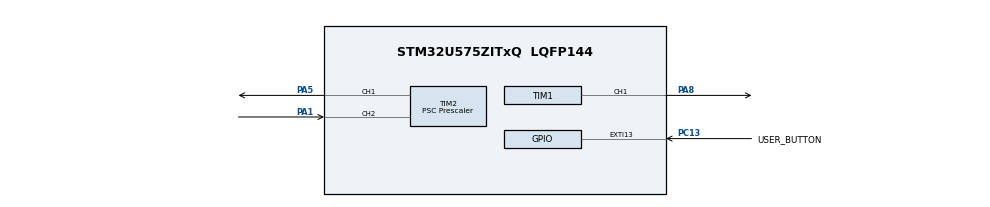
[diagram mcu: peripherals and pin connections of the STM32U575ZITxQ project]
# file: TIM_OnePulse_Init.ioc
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CORTEX_M33_NS.userName=CORTEX_M33
Mcu.Family=STM32U5
Mcu.Name=STM32U575ZITxQ
Mcu.Package=LQFP144
NVIC.EXTI13_IRQn=true\:0\:0\:false\:false\:true\:true\:true\:true
NVIC.PriorityGroup=NVIC_PRIORITYGROUP_4
NVIC.TIM1_CC_IRQn=true\:0\:0\:false\:false\:true\:true\:true\:true
PA1.GPIO_Speed=GPIO_SPEED_FREQ_VERY_HIGH
PA1.Signal=S_TIM2_CH2
PA5.GPIO_Speed=GPIO_SPEED_FREQ_VERY_HIGH
PA5.Signal=S_TIM2_CH1
PA8.Signal=S_TIM1_CH1
PC13.GPIO_Label=USER_BUTTON
PC13.GPIO_ModeDefaultEXTI=GPIO_MODE_IT_FALLING
PC13.GPIO_PuPd=GPIO_NOPULL
PC13.Signal=GPXTI13
PWR.PowerMode=PWR_SMPS_SUPPLY
ProjectManager.HeapSize=0x200
ProjectManager.StackSize=0x400
ProjectManager.TargetToolchain=EWARM V8.50
RCC.ADCFreq_Value=16000000
RCC.AHBFreq_Value=160000000
RCC.APB1Freq_Value=160000000
RCC.APB1TimFreq_Value=160000000
RCC.APB2Freq_Value=160000000
RCC.APB2TimFreq_Value=160000000
RCC.APB3Freq_Value=160000000
RCC.CortexFreq_Value=160000000
RCC.DACCLockSelectionVirtual=RCC_DAC1CLKSOURCE_LSI
RCC.DACCLockSelectionVirtualString=RCC_DAC1CLKSOURCE_LSI
RCC.EPOD_VALUE=4000000
RCC.HCLKFreq_Value=160000000
RCC.HSE_VALUE=16000000
RCC.HSI48_VALUE=48000000
RCC.HSI_VALUE=16000000
RCC.LSE_VALUE=32768
RCC.LSIDIV_VALUE=32000
RCC.MSI_VALUE=4000000
RCC.PLLN=80
RCC.SYSCLKFreq_VALUE=160000000
RCC.SYSCLKSource=RCC_SYSCLKSOURCE_PLLCLK
RCC.USBFreq_Value=48000000
RCC.VCOOutputFreq_Value=320000000
SH.S_TIM1_CH1.0=TIM1_CH1,PWM Generation1 CH1
SH.S_TIM2_CH1.0=TIM2_CH1,Output Compare1 CH1
SH.S_TIM2_CH2.0=TIM2_CH2,TriggerSource_TI2FP2
TIM1.AutoReloadPreload=TIM_AUTORELOAD_PRELOAD_ENABLE
TIM1.AutomaticOutput=TIM_AUTOMATICOUTPUT_ENABLE
TIM1.Break2Filter=0
TIM1.Break2Polarity=TIM_BREAK2POLARITY_HIGH
TIM1.Break2State=TIM_BREAK2_DISABLE
TIM1.BreakFilter=0
TIM1.BreakPolarity=TIM_BREAKPOLARITY_HIGH
TIM1.BreakState=TIM_BREAK_DISABLE
TIM1.Channel-PWM\ Generation1\ CH1=TIM_CHANNEL_1
TIM1.ClearInputSource=TIM_CLEARINPUTSOURCE_NONE
TIM1.ClockDivision=TIM_CLOCKDIVISION_DIV1
TIM1.CounterMode=TIM_COUNTERMODE_UP
TIM1.Dithering=Disable
TIM1.LockLevel=TIM_LOCKLEVEL_OFF
TIM1.OC1Preload_PWM=ENABLE
TIM1.OCFastMode_PWM-PWM\ Generation1\ CH1=TIM_OCFAST_DISABLE
TIM1.OCIdleState_1=TIM_OCIDLESTATE_RESET
TIM1.OCMode_PWM-PWM\ Generation1\ CH1=TIM_OCMODE_PWM2
TIM1.OCPolarity_1=TIM_OCPOLARITY_HIGH
TIM1.OffStateIDLEMode=TIM_OSSI_DISABLE
TIM1.OffStateRunMode=TIM_OSSR_DISABLE
TIM1.PeriodNoDither=Period
TIM1.Prescaler=Prescaler
TIM1.PulseNoDither_1=Pulse
TIM1.RepetitionCounter=0
TIM1.SourceBRK2COMP1=TIM_BREAKINPUTSOURCE_DISABLE
TIM1.SourceBRK2COMP2=TIM_BREAKINPUTSOURCE_DISABLE
TIM1.SourceBRK2DigInput=TIM_BREAKINPUTSOURCE_DISABLE
TIM1.SourceBRKCOMP1=TIM_BREAKINPUTSOURCE_DISABLE
TIM1.SourceBRKCOMP2=TIM_BREAKINPUTSOURCE_DISABLE
TIM1.SourceBRKDigInput=TIM_BREAKINPUTSOURCE_DISABLE
TIM1.TIM_MasterOutputTrigger=TIM_TRGO_RESET
TIM1.TIM_MasterOutputTrigger2=TIM_TRGO2_RESET
TIM1.TIM_MasterSlaveMode=TIM_MASTERSLAVEMODE_DISABLE
TIM2.AutoReloadPreload=TIM_AUTORELOAD_PRELOAD_ENABLE
TIM2.Channel-Output\ Compare1\ CH1=TIM_CHANNEL_1
TIM2.ClearInputSource=TIM_CLEARINPUTSOURCE_NONE
TIM2.ClockDivision=TIM_CLOCKDIVISION_DIV1
TIM2.CounterMode=TIM_COUNTERMODE_UP
TIM2.Dithering=Disable
TIM2.OC1Preload=DISABLE
TIM2.OCMode_1=TIM_OCMODE_RETRIGERRABLE_OPM2
TIM2.OCPolarity_1=TIM_OCPOLARITY_HIGH
TIM2.PeriodNoDither=Period
TIM2.Prescaler=Prescaler
TIM2.PulseNoDither_1=Pulse
TIM2.Slave_TriggerFilter=0
TIM2.TIM_MasterOutputTrigger=TIM_TRGO_RESET
TIM2.TIM_MasterSlaveMode=TIM_MASTERSLAVEMODE_DISABLE
TIM2.TIM_SlaveMode=TIM_SLAVEMODE_TRIGGER
VP_ICACHE_VS_ICACHE.Mode=DirectMappedCache
VP_LPBAMQUEUE_VS_QUEUE.Mode=QUEUEMODE
VP_LPBAM_VS_SIG1.Mode=SmartRun
VP_LPBAM_VS_SIG4.Mode=LPDMA1
VP_PWR_VS_DBSignals.Mode=DisableDeadBatterySignals
VP_PWR_VS_LPOM.Mode=PowerOptimisation
VP_PWR_VS_SECSignals.Mode=Security/Privilege
VP_TIM1_VS_OPM.Mode=OPM_bit
VP_TIM2_VS_ControllerModeTrigger.Mode=Trigger Mode
VP_TIM2_VS_OPM.Mode=OPM_bit
board=custom

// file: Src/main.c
/* USER CODE BEGIN Header */
/**
  ******************************************************************************
  * @file           : main.c
  * @brief          : Main program body
  ******************************************************************************
  * @attention
  *
  * Copyright (c) 2021 STMicroelectronics.
  * All rights reserved.
  *
  * This software is licensed under terms that can be found in the LICENSE file
  * in the root directory of this software component.
  * If no LICENSE file comes with this software, it is provided AS-IS.
  *
  ******************************************************************************
  */
/* USER CODE END Header */
#include "main.h"

/* USER CODE BEGIN PTD */
/* Measured pulse delay (in us) */
static __IO uint32_t uwMeasuredDelay;

/* Measured pulse length (in us) */
static __IO uint32_t uwMeasuredPulseLength;

/* USER CODE END PTD */

void SystemClock_Config(void);
static void SystemPower_Config(void);
static void MX_GPIO_Init(void);
static void MX_ICACHE_Init(void);
static void MX_TIM2_Init(void);
static void MX_TIM1_Init(void);

int main(void)
{

  /* MCU Configuration--------------------------------------------------------*/

  /* Reset of all peripherals, Initializes the Flash interface and the Systick. */

  /* System interrupt init*/
  NVIC_SetPriorityGrouping(NVIC_PRIORITYGROUP_4);

  /* Enable PWR clock interface */

  LL_AHB3_GRP1_EnableClock(LL_AHB3_GRP1_PERIPH_PWR);

  /* Configure the System Power */
  SystemPower_Config();

  /* Configure the system clock */
  SystemClock_Config();

  /* Initialize all configured peripherals */
  MX_GPIO_Init();
  MX_ICACHE_Init();
  MX_TIM2_Init();
  MX_TIM1_Init();
  /* USER CODE BEGIN 2 */
  /* Enable capture/compare interrupt */
  LL_TIM_EnableIT_CC1(TIM1);

  /* Enable output channels */
  LL_TIM_CC_EnableChannel(TIM1, LL_TIM_CHANNEL_CH1);
  LL_TIM_CC_EnableChannel(TIM2, LL_TIM_CHANNEL_CH1);

  /* Force update generation */
  LL_TIM_GenerateEvent_UPDATE(TIM1);
  LL_TIM_GenerateEvent_UPDATE(TIM2);

  /* USER CODE END 2 */

  /* Infinite loop */
  while (1)
  {

  }
}

void SystemClock_Config(void)
{
  LL_FLASH_SetLatency(LL_FLASH_LATENCY_4);
  while(LL_FLASH_GetLatency()!= LL_FLASH_LATENCY_4)
  {
  }

  LL_PWR_SetRegulVoltageScaling(LL_PWR_REGU_VOLTAGE_SCALE1);
  while (LL_PWR_IsActiveFlag_VOS() == 0)
  {
  }
  LL_RCC_MSIS_Enable();

   /* Wait till MSIS is ready */
  while(LL_RCC_MSIS_IsReady() != 1)
  {
  }

  LL_RCC_MSI_EnableRangeSelection();
  LL_RCC_MSIS_SetRange(LL_RCC_MSISRANGE_4);
  LL_RCC_MSI_SetCalibTrimming(16, LL_RCC_MSI_OSCILLATOR_1);
  LL_RCC_PLL1_ConfigDomain_SYS(LL_RCC_PLL1SOURCE_MSIS, 1, 80, 2);
  LL_RCC_PLL1_EnableDomain_SYS();
  LL_RCC_SetPll1EPodPrescaler(LL_RCC_PLL1MBOOST_DIV_1);
  LL_RCC_PLL1_SetVCOInputRange(LL_RCC_PLLINPUTRANGE_4_8);
  LL_RCC_PLL1_Enable();

   /* Wait till PLL is ready */
  while(LL_RCC_PLL1_IsReady() != 1)
  {
  }

   /* Intermediate AHB prescaler 2 when target frequency clock is higher than 80 MHz */
  LL_RCC_SetAHBPrescaler(LL_RCC_SYSCLK_DIV_2);

  LL_RCC_SetSysClkSource(LL_RCC_SYS_CLKSOURCE_PLL1);

   /* Wait till System clock is ready */
  while(LL_RCC_GetSysClkSource() != LL_RCC_SYS_CLKSOURCE_STATUS_PLL1)
  {
  }

  /* Insure 1us transition state at intermediate medium speed clock*/
  for (__IO uint32_t i = (160 >> 1); i !=0; i--);

  LL_RCC_SetAHBPrescaler(LL_RCC_SYSCLK_DIV_1);
  LL_RCC_SetAPB1Prescaler(LL_RCC_APB1_DIV_1);
  LL_RCC_SetAPB2Prescaler(LL_RCC_APB2_DIV_1);
  LL_RCC_SetAPB3Prescaler(LL_RCC_APB3_DIV_1);

  LL_Init1msTick(160000000);

  LL_SetSystemCoreClock(160000000);
}

/**
  * @brief Power Configuration
  * @retval None
  */
static void SystemPower_Config(void)
{

  /*
   * Disable the internal Pull-Up in Dead Battery pins of UCPD peripheral
   */
  LL_PWR_DisableUCPDDeadBattery();

  /*
   * Switch to SMPS regulator instead of LDO
   */
  LL_PWR_SetRegulatorSupply(LL_PWR_SMPS_SUPPLY);

  while(LL_PWR_IsActiveFlag_REGULATOR()!=1)
  {
  }
}

static void MX_ICACHE_Init(void)
{

  /** Enable instruction cache in 1-way (direct mapped cache)
  */
  LL_ICACHE_SetMode(LL_ICACHE_1WAY);
  LL_ICACHE_Enable();

}

static void MX_TIM1_Init(void)
{

  /* USER CODE BEGIN TIM1_Init 0 */
  uint32_t Prescaler;
  uint32_t Period;
  uint32_t Pulse;

  /* USER CODE END TIM1_Init 0 */

  LL_TIM_InitTypeDef TIM_InitStruct = {0};
  LL_TIM_OC_InitTypeDef TIM_OC_InitStruct = {0};
  LL_TIM_BDTR_InitTypeDef TIM_BDTRInitStruct = {0};

  LL_GPIO_InitTypeDef GPIO_InitStruct = {0};

  /* Peripheral clock enable */
  LL_APB2_GRP1_EnableClock(LL_APB2_GRP1_PERIPH_TIM1);

  /* TIM1 interrupt Init */
  NVIC_SetPriority(TIM1_CC_IRQn, NVIC_EncodePriority(NVIC_GetPriorityGrouping(),0, 0));
  NVIC_EnableIRQ(TIM1_CC_IRQn);

  /* USER CODE BEGIN TIM1_Init 1 */

  /* Set the TIM1 prescaler to get counter clock frequency at 10 MHz          */
  /* Set the capture/compare register to get a pulse delay of 50 us */
  /* Set the autoreload register to get a pulse length of 50 us */
  Prescaler = __LL_TIM_CALC_PSC(SystemCoreClock, 10000000);
  Period = __LL_TIM_CALC_PULSE(SystemCoreClock, Prescaler, 50, 50);
  Pulse = __LL_TIM_CALC_DELAY(SystemCoreClock, Prescaler, 50);

  /* USER CODE END TIM1_Init 1 */
  TIM_InitStruct.Prescaler = Prescaler;
  TIM_InitStruct.CounterMode = LL_TIM_COUNTERMODE_UP;
  TIM_InitStruct.Autoreload = Period;
  TIM_InitStruct.ClockDivision = LL_TIM_CLOCKDIVISION_DIV1;
  TIM_InitStruct.RepetitionCounter = 0;
  LL_TIM_Init(TIM1, &TIM_InitStruct);
  LL_TIM_EnableARRPreload(TIM1);
  LL_TIM_OC_EnablePreload(TIM1, LL_TIM_CHANNEL_CH1);
  TIM_OC_InitStruct.OCMode = LL_TIM_OCMODE_PWM2;
  TIM_OC_InitStruct.OCState = LL_TIM_OCSTATE_DISABLE;
  TIM_OC_InitStruct.OCNState = LL_TIM_OCSTATE_DISABLE;
  TIM_OC_InitStruct.CompareValue = Pulse;
  TIM_OC_InitStruct.OCPolarity = LL_TIM_OCPOLARITY_HIGH;
  TIM_OC_InitStruct.OCNPolarity = LL_TIM_OCPOLARITY_HIGH;
  TIM_OC_InitStruct.OCIdleState = LL_TIM_OCIDLESTATE_LOW;
  TIM_OC_InitStruct.OCNIdleState = LL_TIM_OCIDLESTATE_LOW;
  LL_TIM_OC_Init(TIM1, LL_TIM_CHANNEL_CH1, &TIM_OC_InitStruct);
  LL_TIM_OC_DisableFast(TIM1, LL_TIM_CHANNEL_CH1);
  LL_TIM_SetOnePulseMode(TIM1, LL_TIM_ONEPULSEMODE_SINGLE);
  LL_TIM_SetTriggerOutput(TIM1, LL_TIM_TRGO_RESET);
  LL_TIM_SetTriggerOutput2(TIM1, LL_TIM_TRGO2_RESET);
  LL_TIM_DisableMasterSlaveMode(TIM1);
  TIM_BDTRInitStruct.OSSRState = LL_TIM_OSSR_DISABLE;
  TIM_BDTRInitStruct.OSSIState = LL_TIM_OSSI_DISABLE;
  TIM_BDTRInitStruct.LockLevel = LL_TIM_LOCKLEVEL_OFF;
  TIM_BDTRInitStruct.DeadTime = 0;
  TIM_BDTRInitStruct.BreakState = LL_TIM_BREAK_DISABLE;
  TIM_BDTRInitStruct.BreakPolarity = LL_TIM_BREAK_POLARITY_HIGH;
  TIM_BDTRInitStruct.BreakFilter = LL_TIM_BREAK_FILTER_FDIV1;
  TIM_BDTRInitStruct.BreakAFMode = LL_TIM_BREAK_AFMODE_INPUT;
  TIM_BDTRInitStruct.Break2State = LL_TIM_BREAK2_DISABLE;
  TIM_BDTRInitStruct.Break2Polarity = LL_TIM_BREAK2_POLARITY_HIGH;
  TIM_BDTRInitStruct.Break2Filter = LL_TIM_BREAK2_FILTER_FDIV1;
  TIM_BDTRInitStruct.Break2AFMode = LL_TIM_BREAK_AFMODE_INPUT;
  TIM_BDTRInitStruct.AutomaticOutput = LL_TIM_AUTOMATICOUTPUT_ENABLE;
  LL_TIM_BDTR_Init(TIM1, &TIM_BDTRInitStruct);
  LL_AHB2_GRP1_EnableClock(LL_AHB2_GRP1_PERIPH_GPIOA);
  /**TIM1 GPIO Configuration
  PA8   ------> TIM1_CH1
  */
  GPIO_InitStruct.Pin = LL_GPIO_PIN_8;
  GPIO_InitStruct.Mode = LL_GPIO_MODE_ALTERNATE;
  GPIO_InitStruct.Speed = LL_GPIO_SPEED_FREQ_LOW;
  GPIO_InitStruct.OutputType = LL_GPIO_OUTPUT_PUSHPULL;
  GPIO_InitStruct.Pull = LL_GPIO_PULL_NO;
  GPIO_InitStruct.Alternate = LL_GPIO_AF_1;
  LL_GPIO_Init(GPIOA, &GPIO_InitStruct);

}

static void MX_TIM2_Init(void)
{

  /* USER CODE BEGIN TIM2_Init 0 */
  uint32_t tim_clk;
  uint32_t Prescaler;
  uint32_t Period;
  uint32_t Pulse;

  /* USER CODE END TIM2_Init 0 */

  LL_TIM_InitTypeDef TIM_InitStruct = {0};
  LL_TIM_OC_InitTypeDef TIM_OC_InitStruct = {0};

  LL_GPIO_InitTypeDef GPIO_InitStruct = {0};

  /* Peripheral clock enable */
  LL_APB1_GRP1_EnableClock(LL_APB1_GRP1_PERIPH_TIM2);

  LL_AHB2_GRP1_EnableClock(LL_AHB2_GRP1_PERIPH_GPIOA);
  /**TIM2 GPIO Configuration
  PA1   ------> TIM2_CH2
  */
  GPIO_InitStruct.Pin = LL_GPIO_PIN_1;
  GPIO_InitStruct.Mode = LL_GPIO_MODE_ALTERNATE;
  GPIO_InitStruct.Speed = LL_GPIO_SPEED_FREQ_VERY_HIGH;
  GPIO_InitStruct.OutputType = LL_GPIO_OUTPUT_PUSHPULL;
  GPIO_InitStruct.Pull = LL_GPIO_PULL_NO;
  GPIO_InitStruct.Alternate = LL_GPIO_AF_1;
  LL_GPIO_Init(GPIOA, &GPIO_InitStruct);

  /* USER CODE BEGIN TIM2_Init 1 */

  /* In this example TIM2 input clock (TIM2CLK) is set to APB1 clock (PCLK1), */
  /* since APB1 pre-scaler is equal to 1.                                     */
  /*    TIM2CLK = PCLK1                                                       */
  /*    PCLK1 = HCLK                                                          */
  /*    => TIM2CLK = SystemCoreClock (160 MHz)                                */
  tim_clk = SystemCoreClock/1;

  /* Set the TIM2 prescaler to get counter clock frequency at 4 kHz */
  /* Set the capture/compare register to get a pulse delay of 2s (2000000 us)*/
  /* Set the autoreload register to get a pulse length of 3s (3000000 us)*/
  Prescaler = __LL_TIM_CALC_PSC(tim_clk, 4000);
  Period = __LL_TIM_CALC_PULSE(tim_clk, Prescaler, 2000000, 3000000);
  Pulse = __LL_TIM_CALC_DELAY(tim_clk, Prescaler, 2000000);

  /* USER CODE END TIM2_Init 1 */
  TIM_InitStruct.Prescaler = Prescaler;
  TIM_InitStruct.CounterMode = LL_TIM_COUNTERMODE_UP;
  TIM_InitStruct.Autoreload = Period;
  TIM_InitStruct.ClockDivision = LL_TIM_CLOCKDIVISION_DIV1;
  LL_TIM_Init(TIM2, &TIM_InitStruct);
  LL_TIM_EnableARRPreload(TIM2);
  TIM_OC_InitStruct.OCMode = LL_TIM_OCMODE_RETRIG_OPM2;
  TIM_OC_InitStruct.OCState = LL_TIM_OCSTATE_DISABLE;
  TIM_OC_InitStruct.OCNState = LL_TIM_OCSTATE_DISABLE;
  TIM_OC_InitStruct.CompareValue = Pulse;
  TIM_OC_InitStruct.OCPolarity = LL_TIM_OCPOLARITY_HIGH;
  LL_TIM_OC_Init(TIM2, LL_TIM_CHANNEL_CH1, &TIM_OC_InitStruct);
  LL_TIM_OC_DisableFast(TIM2, LL_TIM_CHANNEL_CH1);
  LL_TIM_SetOnePulseMode(TIM2, LL_TIM_ONEPULSEMODE_SINGLE);
  LL_TIM_SetTriggerInput(TIM2, LL_TIM_TS_TI2FP2);
  LL_TIM_SetSlaveMode(TIM2, LL_TIM_SLAVEMODE_TRIGGER);
  LL_TIM_CC_DisableChannel(TIM2, LL_TIM_CHANNEL_CH2);
  LL_TIM_IC_SetFilter(TIM2, LL_TIM_CHANNEL_CH2, LL_TIM_IC_FILTER_FDIV1);
  LL_TIM_IC_SetPolarity(TIM2, LL_TIM_CHANNEL_CH2, LL_TIM_IC_POLARITY_RISING);
  LL_TIM_DisableIT_TRIG(TIM2);
  LL_TIM_DisableDMAReq_TRIG(TIM2);
  LL_TIM_SetTriggerOutput(TIM2, LL_TIM_TRGO_RESET);
  LL_TIM_DisableMasterSlaveMode(TIM2);
  LL_AHB2_GRP1_EnableClock(LL_AHB2_GRP1_PERIPH_GPIOA);
  /**TIM2 GPIO Configuration
  PA5   ------> TIM2_CH1
  */
  GPIO_InitStruct.Pin = LL_GPIO_PIN_5;
  GPIO_InitStruct.Mode = LL_GPIO_MODE_ALTERNATE;
  GPIO_InitStruct.Speed = LL_GPIO_SPEED_FREQ_VERY_HIGH;
  GPIO_InitStruct.OutputType = LL_GPIO_OUTPUT_PUSHPULL;
  GPIO_InitStruct.Pull = LL_GPIO_PULL_NO;
  GPIO_InitStruct.Alternate = LL_GPIO_AF_1;
  LL_GPIO_Init(GPIOA, &GPIO_InitStruct);

}

static void MX_GPIO_Init(void)
{
  LL_EXTI_InitTypeDef EXTI_InitStruct = {0};

  /* GPIO Ports Clock Enable */
  LL_AHB2_GRP1_EnableClock(LL_AHB2_GRP1_PERIPH_GPIOC);
  LL_AHB2_GRP1_EnableClock(LL_AHB2_GRP1_PERIPH_GPIOA);

  /**/
  LL_EXTI_SetEXTISource(LL_EXTI_EXTI_PORTC, LL_EXTI_EXTI_LINE13);

  /**/
  EXTI_InitStruct.Line_0_31 = LL_EXTI_LINE_13;
  EXTI_InitStruct.LineCommand = ENABLE;
  EXTI_InitStruct.Mode = LL_EXTI_MODE_IT;
  EXTI_InitStruct.Trigger = LL_EXTI_TRIGGER_FALLING;
  LL_EXTI_Init(&EXTI_InitStruct);

  /**/
  LL_GPIO_SetPinPull(USER_BUTTON_GPIO_Port, USER_BUTTON_Pin, LL_GPIO_PULL_NO);

  /**/
  LL_GPIO_SetPinMode(USER_BUTTON_GPIO_Port, USER_BUTTON_Pin, LL_GPIO_MODE_INPUT);

  /* EXTI interrupt init*/
  NVIC_SetPriority(EXTI13_IRQn, NVIC_EncodePriority(NVIC_GetPriorityGrouping(),0, 0));
  NVIC_EnableIRQ(EXTI13_IRQn);

}

/* USER CODE BEGIN 4 */

/******************************************************************************/
/*   USER IRQ HANDLER TREATMENT                                               */
/******************************************************************************/
/**
  * @brief  User button interrupt processing
  * @note   TIM1 counter is enabled every time the user button is presssed.
  * @param  None
  * @retval None
  */
void UserButton_Callback(void)
{
  /* Enable counter. Note that the counter will stop automatically at the     */
  /* next update event (UEV).                                                 */
  LL_TIM_EnableCounter(TIM1);
}

/**
  * @brief  Timer capture/compare interrupt processing
  * @note   Calculates the pulse delay and pulse length of the output waveform
  *         generated by TIM1.
  * @param  None
  * @retval None
  */
void TimerCaptureCompare_Callback(void)
{
  uint32_t cnt;
  uint32_t psc;
  uint32_t arr;

  cnt = LL_TIM_GetCounter(TIM1);
  psc = LL_TIM_GetPrescaler(TIM1);
  arr = LL_TIM_GetAutoReload(TIM1);

  uwMeasuredDelay = (cnt * 1000000)/(SystemCoreClock/(psc + 1));
  uwMeasuredPulseLength = ((arr - cnt) * 1000000)/(SystemCoreClock/(psc + 1));
}

/* USER CODE END 4 */

void Error_Handler(void)
{
}
